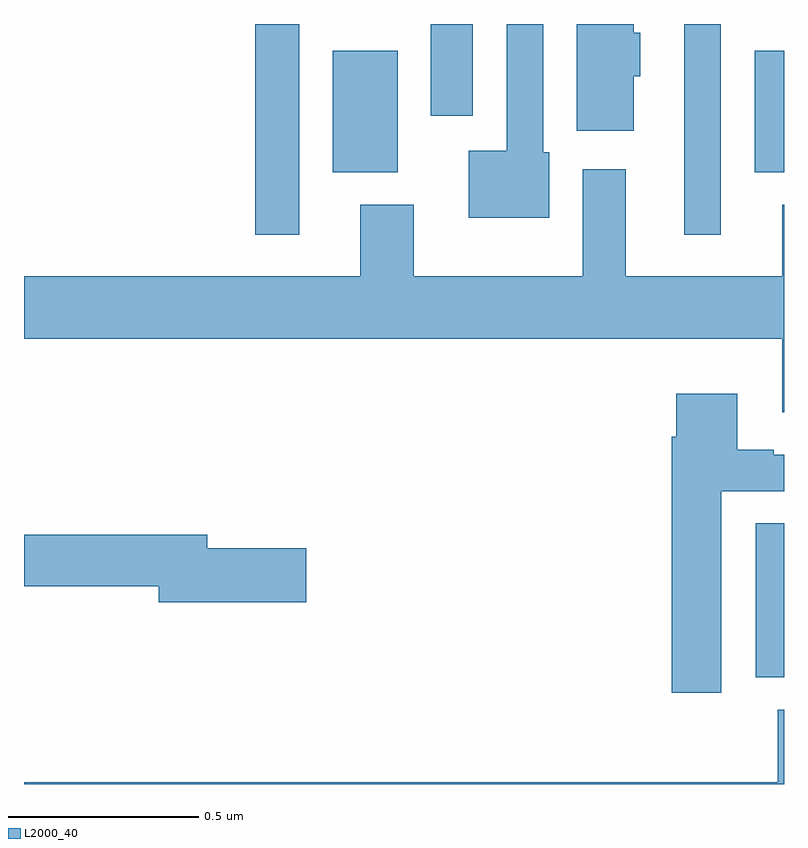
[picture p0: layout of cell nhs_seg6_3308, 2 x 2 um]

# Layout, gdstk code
import gdstk
lib = gdstk.Library(unit=1e-6, precision=1e-09)
def R(c, l, rs):  # rectangles x0, y0, x1, y1
    for r in rs: c.add(gdstk.rectangle(r[:2], r[2:], *l))
def P(c, l, *ps):  # polygons
    for p in ps: c.add(gdstk.Polygon(p, *l))
L2000_40 = (2000, 40)

nhs_seg6_3308 = lib.new_cell('nhs_seg6_3308')
R(nhs_seg6_3308, L2000_40, [(156.926,943.781,157,944.186), (155.608,944.946,155.724,945.5), (155.813,945.11,155.983,945.43), (156.923,945.11,157,945.43), (156.071,945.258,156.181,945.5)])
P(nhs_seg6_3308, L2000_40, [(156.382,945.162),(156.366,945.162),(156.366,945.5),(156.27,945.5),(156.27,945.166),(156.17,945.166),(156.17,944.99),(156.382,944.99)],
  [(156.604,945.363),(156.622,945.363),(156.622,945.477),(156.604,945.477),(156.604,945.5),(156.455,945.5),(156.455,945.219),(156.604,945.219)],
  [(156.834,945.5),(156.738,945.5),(156.738,945.231),(156.737,945.231),(156.737,944.946),(156.834,944.946)],
  [(157,945.025),(156.995,945.025),(156.995,944.836),(156.583,944.836),(156.583,945.118),(156.47,945.118),(156.47,944.836),(156.025,944.836),(156.025,945.025),(155.885,945.025),(155.885,944.836),(155,944.836),(155,944.672),(156.995,944.672),(156.995,944.478),(157,944.478)],
  [(156.835,944.271),(157,944.271),(157,944.367),(156.973,944.367),(156.973,944.38),(156.877,944.38),(156.877,944.527),(156.716,944.527),(156.716,944.414),(156.704,944.414),(156.704,943.74),(156.835,943.74)],
  [(155.743,944.12),(155.482,944.12),(155.482,944.156),(155,944.156),(155,944.02),(155.354,944.02),(155.354,943.978),(155.743,943.978)],
  [(155,943.5),(157,943.5),(157,943.696),(156.983,943.696),(156.983,943.504),(155,943.504)])

lib.write_gds('nhs_seg6_3308.gds')
